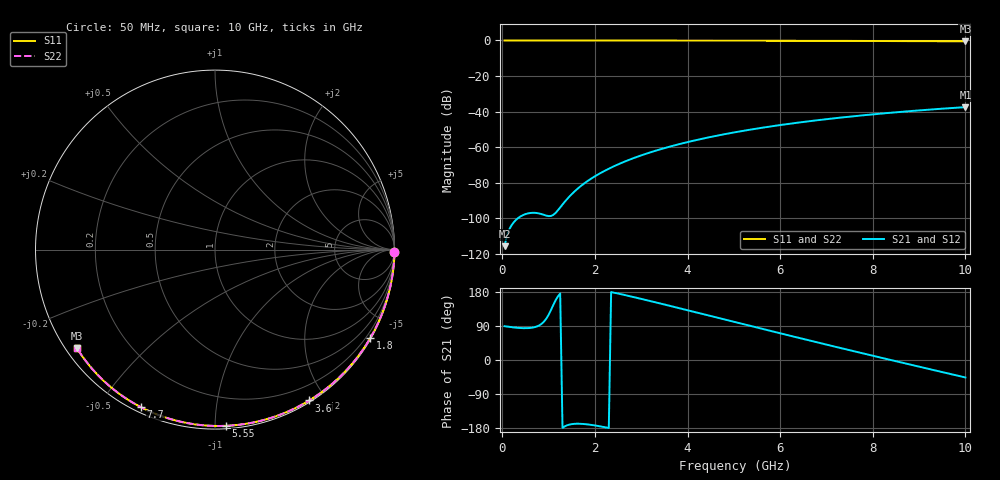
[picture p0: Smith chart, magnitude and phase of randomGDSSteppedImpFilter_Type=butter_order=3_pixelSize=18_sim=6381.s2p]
! freq	dB(S11)	phase(S11)	dB(S12)	phase(S12)
!  dB(S21)	phase(S21)	dB(S22)	phase(S22)
!S-par simulation data
#  GHz  S  DB  R 50
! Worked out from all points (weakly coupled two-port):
!   200 points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, 50 MHz to 10 GHz, reference 50 ohm
!   highest |S21| = -37.49 dB at 10 GHz (marker M1); lowest = -115.7 dB at 50 MHz (marker M2)
!   lowest |S11| = -0.5 dB at 10 GHz (marker M3), VSWR 35.57, Z = 1.55 - j16 ohm
!   |S11| at or under -10 dB: nowhere
!   |S22| runs from -0.5 to 0.0 dB; largest |S21 - S12| = 0
!   S11 on the Smith chart (normalised r, x): 50 MHz: open; 1.8 GHz: 0.03, -3.77; 3.6 GHz: 0.02, -1.80; 5.55 GHz: 0.02, -1.07; 7.7 GHz: 0.02, -0.63; 10 GHz: 0.03, -0.32
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0.05  -0.00 -0.8  -115.70 89.1  -115.70 89.1  -0.00 -0.8
0.45  -0.01 -7.6  -98.19 84.1  -98.19 84.1  -0.01 -7.6
0.9  -0.02 -15.0  -98.10 101.3  -98.10 101.3  -0.02 -15.0
1.3  -0.03 -21.6  -92.28 -179.0  -92.28 -179.0  -0.03 -21.6
1.75  -0.04 -28.9  -80.78 -168.8  -80.78 -168.8  -0.04 -28.9
1.8  -0.04 -29.7  -79.82 -169.4  -79.82 -169.4  -0.04 -29.7
1.95  -0.04 -32.2  -77.19 -171.7  -77.19 -171.7  -0.04 -32.2
2.1  -0.04 -34.6  -74.88 -174.7  -74.88 -174.7  -0.04 -34.6
2.3  -0.05 -37.8  -72.13 -179.4  -72.13 -179.4  -0.05 -37.8
2.5  -0.05 -40.9  -69.71 175.4  -69.71 175.4  -0.05 -40.9
2.9  -0.06 -47.2  -65.56 164.2  -65.56 164.2  -0.06 -47.2
3.4  -0.07 -54.9  -61.31 149.5  -61.31 149.5  -0.07 -55.0
3.6  -0.08 -58.0  -59.83 143.5  -59.83 143.5  -0.08 -58.0
4.3  -0.10 -68.5  -55.37 122.2  -55.37 122.2  -0.10 -68.5
5.05  -0.12 -79.3  -51.52 99.3  -51.52 99.3  -0.12 -79.3
5.55  -0.14 -86.4  -49.34 84.1  -49.34 84.1  -0.14 -86.4
6.1  -0.17 -94.0  -47.22 67.5  -47.22 67.5  -0.17 -94.0
6.7  -0.20 -102.0  -45.19 49.5  -45.19 49.5  -0.20 -102.1
7.7  -0.26 -115.2  -42.33 20.0  -42.33 20.0  -0.26 -115.2
8.35  -0.32 -123.5  -40.74 1.1  -40.74 1.1  -0.32 -123.5
9.2  -0.40 -134.3  -38.94 -23.3  -38.94 -23.3  -0.40 -134.4
10  -0.49 -144.5  -37.49 -46.1  -37.49 -46.1  -0.49 -144.5
